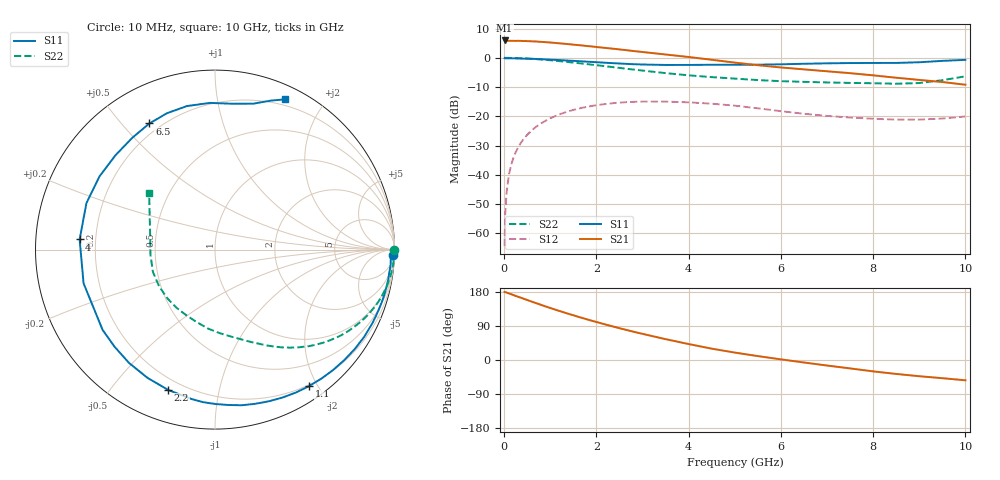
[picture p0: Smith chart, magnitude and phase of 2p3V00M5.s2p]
! (c) 2009  Infineon Technologies AG, Munich
! Infineon Technologies  Discrete & RF Semiconductors
! BFP420
! VCE =  3.0 V,  IC =  0.5 mA
! Common Emitter S-Parameters:  Nov 2009
# GHz  S  MA  R  50
!  f  S11  S21  S12  S22
! GHz  MAG  ANG  MAG  ANG  MAG  ANG  MAG  ANG
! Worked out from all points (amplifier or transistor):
!   46 points, 10 MHz to 10 GHz, reference 50 ohm
!   highest |S21| = 6.0 dB at 10 MHz (marker M1)
!   |S21| within 3 dB of that: start of sweep to 2.463 GHz
!   unconditionally stable (mu >= 1): 4.452 GHz to end of sweep
!   at 300 MHz: K = 0.02, MSG = 18.3 dB, |S12| = -30.7 dB
!   at 1.7 GHz: K = 0.26, MSG = 10.6 dB, |S12| = -17.1 dB
!   at 10 GHz: K = 1.57, MAG = 1.0 dB, |S12| = -20.1 dB
!   lowest NFmin = 0.68 dB at 900 MHz
!   S11 on the Smith chart (normalised r, x): 10 MHz: 22, -64; 1.1 GHz: 0.18, -1.89; 2.2 GHz: 0.15, -0.71; 4 GHz: 0.14, +0.04; 6.5 GHz: 0.16, +0.60; 10 GHz: 0.14, +1.56
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0.01  0.9904 -1.6  1.984 179.4  0.0006 98.5  0.9991 -0.1
0.02  0.981 -0.9  1.929 179.5  0.0019 90.8  0.9983 -0.5
0.05  0.9802 -2.5  1.941 178.0  0.0047 88.1  0.9987 -1.3
0.1  0.9822 -4.9  1.952 175.8  0.0097 86.9  0.998 -2.7
0.2  0.9794 -10.0  1.955 171.5  0.0194 83.9  0.9948 -5.5
0.35  0.9742 -17.6  1.95 164.9  0.034 79.1  0.9863 -9.5
0.5  0.9679 -25.2  1.933 158.3  0.0483 74.4  0.9734 -13.4
0.8  0.9478 -40.4  1.877 145.5  0.0756 64.8  0.938 -21.0
1.1  0.9236 -55.5  1.8 133.3  0.1003 55.5  0.8943 -28.0
1.4  0.8968 -70.5  1.715 121.6  0.122 46.3  0.8462 -34.6
1.7  0.8691 -85.0  1.627 110.7  0.1402 37.7  0.797 -40.5
2.2  0.8243 -108.4  1.478 93.6  0.1625 24.2  0.7179 -49.3
2.8  0.7785 -136.0  1.309 74.8  0.1767 9.1  0.6309 -58.8
3.5  0.756 -165.6  1.141 55.0  0.1783 -6.2  0.5477 -69.4
4  0.7563 175.7  1.034 42.1  0.1733 -15.3  0.5023 -77.4
4.5  0.7617 160.1  0.927 29.9  0.1644 -23.6  0.4683 -86.2
5.5  0.7641 136.5  0.749 10.3  0.1371 -35.8  0.4167 -104.1
6.5  0.7921 117.5  0.635 -6.6  0.1106 -39.9  0.3884 -123.8
7  0.8056 109.4  0.589 -14.6  0.1015 -39.2  0.3796 -134.5
8.5  0.8186 83.1  0.457 -36.8  0.0878 -31.6  0.3608 -175.5
9  0.8406 75.3  0.419 -42.8  0.0878 -27.3  0.3704 167.3
10  0.9243 64.9  0.347 -53.5  0.0993 -20.8  0.4833 139.4
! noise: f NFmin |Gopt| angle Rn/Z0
0.9  0.68  0.78  35  0.65
1.8  1.42  0.6  75  0.5
2.4  1.57  0.58  98  0.37
3  2.1  0.58  128  0.24
4  2.49  0.57  177  0.09
